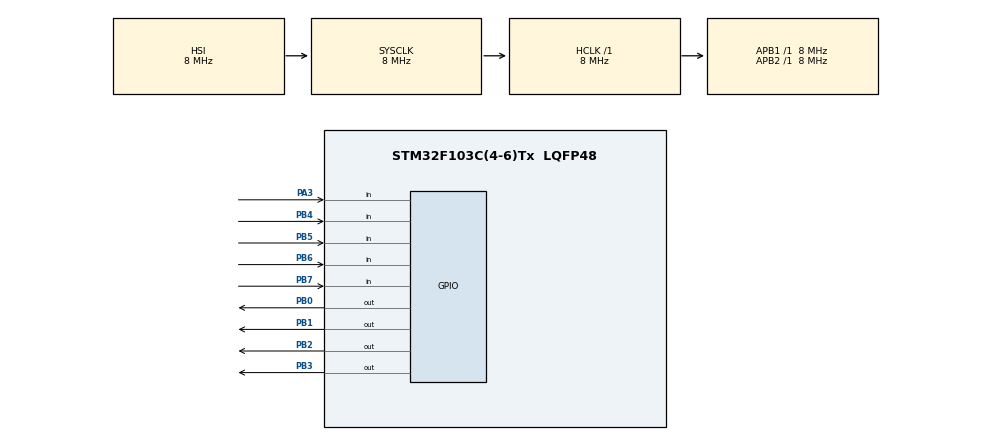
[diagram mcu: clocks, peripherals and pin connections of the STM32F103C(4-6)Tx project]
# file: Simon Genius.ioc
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Mcu.Family=STM32F1
Mcu.Name=STM32F103C(4-6)Tx
Mcu.Package=LQFP48
NVIC.PriorityGroup=NVIC_PRIORITYGROUP_4
NVIC.RTC_IRQn=true\:0\:0\:false\:false\:true\:true\:true
PA3.Signal=GPIO_Input
PB0.Signal=GPIO_Output
PB1.Signal=GPIO_Output
PB2.Signal=GPIO_Output
PB3.Signal=GPIO_Output
PB4.Signal=GPIO_Input
PB5.Signal=GPIO_Input
PB6.Signal=GPIO_Input
PB7.Signal=GPIO_Input
PD0-OSC_IN.Mode=HSE-External-Oscillator
PD0-OSC_IN.Signal=RCC_OSC_IN
PD1-OSC_OUT.Mode=HSE-External-Oscillator
PD1-OSC_OUT.Signal=RCC_OSC_OUT
ProjectManager.HeapSize=0x200
ProjectManager.StackSize=0x400
ProjectManager.TargetToolchain=STM32CubeIDE
RCC.AHBFreq_Value=8000000
RCC.APB1Freq_Value=8000000
RCC.APB1TimFreq_Value=8000000
RCC.APB2Freq_Value=8000000
RCC.APB2TimFreq_Value=8000000
RCC.HCLKFreq_Value=8000000
RCC.PLLSourceVirtual=RCC_PLLSOURCE_HSE
RCC.SYSCLKFreq_VALUE=8000000
RCC.USBFreq_Value=16000000
VP_RTC_VS_RTC_Activate.Mode=RTC_Enabled
VP_SYS_VS_ND.Mode=No_Debug
board=custom

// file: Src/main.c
/* USER CODE BEGIN Header */
/**
  ******************************************************************************
  * @file           : main.c
  * @brief          : Main program body
  ******************************************************************************
  * @attention
  *
  * Copyright (c) 2022 STMicroelectronics.
  * All rights reserved.
  *
  * This software is licensed under terms that can be found in the LICENSE file
  * in the root directory of this software component.
  * If no LICENSE file comes with this software, it is provided AS-IS.
  *
  ******************************************************************************
  */
/* USER CODE END Header */
#include "main.h"

/* USER CODE BEGIN Includes */
#include <stdio.h>
#include <stdlib.h>
#include <time.h>
/* USER CODE END Includes */

RTC_HandleTypeDef hrtc;

void SystemClock_Config(void);
static void MX_GPIO_Init(void);
static void MX_RTC_Init(void);

/* USER CODE BEGIN 0 */
void PerdeuJogo()
{
	HAL_GPIO_TogglePin(GPIOB,GPIO_PIN_0);
	HAL_GPIO_TogglePin(GPIOB,GPIO_PIN_1);
	HAL_GPIO_TogglePin(GPIOB,GPIO_PIN_2);
	HAL_GPIO_TogglePin(GPIOB,GPIO_PIN_3);
	HAL_Delay(1000);
	HAL_GPIO_TogglePin(GPIOB,GPIO_PIN_0);
	HAL_Delay(200);
	HAL_GPIO_TogglePin(GPIOB,GPIO_PIN_1);
	HAL_Delay(200);
	HAL_GPIO_TogglePin(GPIOB,GPIO_PIN_2);
	HAL_Delay(200);
	HAL_GPIO_TogglePin(GPIOB,GPIO_PIN_3);
}

void GanhouJogo()
{
	for(int h = 0; h< 3; h++)
	{
		HAL_GPIO_TogglePin(GPIOB,GPIO_PIN_0);
		HAL_GPIO_TogglePin(GPIOB,GPIO_PIN_1);
		HAL_GPIO_TogglePin(GPIOB,GPIO_PIN_2);
		HAL_GPIO_TogglePin(GPIOB,GPIO_PIN_3);
		HAL_Delay(200);
		HAL_GPIO_TogglePin(GPIOB,GPIO_PIN_0);
		HAL_GPIO_TogglePin(GPIOB,GPIO_PIN_1);
		HAL_GPIO_TogglePin(GPIOB,GPIO_PIN_2);
		HAL_GPIO_TogglePin(GPIOB,GPIO_PIN_3);
		HAL_Delay(200);
	}
}

/* USER CODE END 0 */

int main(void)
{
  /* USER CODE BEGIN 1 */
	int queue[10] = {5};
	int queueReply[10]= {5};
	int queueAux = 0;
	int pinTurnOff = 0;
	int startGame = 0;
	int delay;
	int pressButton;
  /* USER CODE END 1 */

  /* MCU Configuration--------------------------------------------------------*/

  /* Reset of all peripherals, Initializes the Flash interface and the Systick. */
  HAL_Init();

  /* Configure the system clock */
  SystemClock_Config();

  /* Initialize all configured peripherals */
  MX_GPIO_Init();
  MX_RTC_Init();

  /* Infinite loop */
  while (1)
  {

    /* USER CODE BEGIN 3 */

	  //Irá conferir se o botão de start foi iniciado, e iniciará o jogo
	  if(HAL_GPIO_ReadPin(GPIOA, GPIO_PIN_3))
	  {
		  startGame = 1;
	  }

	  //Apenas uma correção, pois quando era iniciado o jogo, os leds iniciavam ligados.
	  //Aqui é setado o tempo inicial de delay, e nosso pressButton, que seu estado indica se está na zona
	  //onde os led ficam acessos, ou na que o botão é precionado.
	  if(pinTurnOff == 0)
	  {
		  delay = 500;
		  pressButton = 1;
		  HAL_GPIO_TogglePin(GPIOB,GPIO_PIN_0);
		  HAL_GPIO_TogglePin(GPIOB,GPIO_PIN_1);
		  HAL_GPIO_TogglePin(GPIOB,GPIO_PIN_2);
		  HAL_GPIO_TogglePin(GPIOB,GPIO_PIN_3);
		  pinTurnOff = 1;
	  }

	  //Zona onde o led irá piscar
	  if(startGame == 1)
	  {
		  //zera nosso cursor da fila
			int i = 0;

			//confere se ganhou o jogo
			if(queueAux == 10)
			{
				GanhouJogo();
				startGame = 0;
				queueAux = 0;
			}

			//Escolhe um led aleatório para acender, usando para isso um tick do clock, e adiciona na fila
			srand(HAL_GetTick());
			queue[queueAux] = rand() % 4;

		//Laço responsavel por piscar os leds
		  while(pressButton == 1)
		  {
			  HAL_Delay(1000);

			  switch(queue[i])
			  {
			  	  case 0:
			  		HAL_GPIO_TogglePin(GPIOB,GPIO_PIN_0);
			  		HAL_Delay(delay);
					HAL_GPIO_TogglePin(GPIOB,GPIO_PIN_0);
					break;
			  	  case 1:
			  		HAL_GPIO_TogglePin(GPIOB,GPIO_PIN_1);
			  		HAL_Delay(delay);
					HAL_GPIO_TogglePin(GPIOB,GPIO_PIN_1);
					break;
			  	  case 2:
			  		HAL_GPIO_TogglePin(GPIOB,GPIO_PIN_2);
			  		HAL_Delay(delay);
					HAL_GPIO_TogglePin(GPIOB,GPIO_PIN_2);
					break;
			  	  case 3:
			  		HAL_GPIO_TogglePin(GPIOB,GPIO_PIN_3);
			  		HAL_Delay(delay);
					HAL_GPIO_TogglePin(GPIOB,GPIO_PIN_3);
					break;
			  	  default:
					HAL_GPIO_TogglePin(GPIOB,GPIO_PIN_0);
			  		HAL_GPIO_TogglePin(GPIOB,GPIO_PIN_1);
					HAL_GPIO_TogglePin(GPIOB,GPIO_PIN_2);
					HAL_GPIO_TogglePin(GPIOB,GPIO_PIN_3);
					HAL_Delay(delay);
					HAL_GPIO_TogglePin(GPIOB,GPIO_PIN_0);
					HAL_GPIO_TogglePin(GPIOB,GPIO_PIN_1);
					HAL_GPIO_TogglePin(GPIOB,GPIO_PIN_2);
					HAL_GPIO_TogglePin(GPIOB,GPIO_PIN_3);
					break;
			  }
			  // se o nosso cursor chegar no valor atual da fila, ele aumenta nosso auxiliar e sai do laço
			  if(i == queueAux)
			  {
				pressButton = 0;
				queueAux++;
			  }
			  i++;

		  }

		  //Aqui nosso cursor é zerado
		  i = 0;

		  //Laço responsável por esperar a resposta dos botões
		  while(pressButton == 0)
		  {
			  if(HAL_GPIO_ReadPin(GPIOB, GPIO_PIN_4))
			  {
				  HAL_GPIO_TogglePin(GPIOB,GPIO_PIN_0);
				  HAL_Delay(delay);
				  HAL_GPIO_TogglePin(GPIOB,GPIO_PIN_0);
				  //Aqui armazena a resposta
				  queueReply[i] = 0;
				  //Aqui confere se a resposta nessa posição é igual
				  if(queue[i] == queueReply[i]){
					  // confere se ja chegou ao final
					  // queueAux-1 pois nos aumentamos o tamanho dele no outro laço
					  if(i == (queueAux-1)){
						  pressButton = 1;
						  delay -= 35;
					  }
					  i++;
				  }
				  // aqui a gente perdeu o jogo, caso seja diferente que a queue
				  else{
					  pressButton = 1;
					  PerdeuJogo();
					  startGame = 0;
					  queueAux = 0;
				  }
			  }
			  if(HAL_GPIO_ReadPin(GPIOB, GPIO_PIN_5))
			  {
				  HAL_GPIO_TogglePin(GPIOB,GPIO_PIN_1);
				  HAL_Delay(delay);
				  HAL_GPIO_TogglePin(GPIOB,GPIO_PIN_1);
				  queueReply[i] = 1;
				  if(queue[i] == queueReply[i]){
					  if(i == (queueAux-1)){
						  pressButton = 1;
						  delay -= 35;
					  }
					  i++;
				  }
				  else{
					  pressButton = 1;
					  PerdeuJogo();
					  startGame = 0;
					  queueAux = 0;
				  }
			  }
			  if(HAL_GPIO_ReadPin(GPIOB, GPIO_PIN_6))
			  {
				  HAL_GPIO_TogglePin(GPIOB,GPIO_PIN_2);
				  HAL_Delay(delay);
				  HAL_GPIO_TogglePin(GPIOB,GPIO_PIN_2);
				  queueReply[i] = 2;
				  if(queue[i] == queueReply[i]){
					  if(i == (queueAux-1)){
						  pressButton = 1;
						  delay -= 35;
					  }
					  i++;
				  }
				  else{
					  pressButton = 1;
					  PerdeuJogo();
					  startGame = 0;
					  queueAux = 0;
				  }
			  }
			  if(HAL_GPIO_ReadPin(GPIOB, GPIO_PIN_7))
			  {
				  HAL_GPIO_TogglePin(GPIOB,GPIO_PIN_3);
				  HAL_Delay(delay);
				  HAL_GPIO_TogglePin(GPIOB,GPIO_PIN_3);
				  queueReply[i] = 3;
				  if(queue[i] == queueReply[i]){
					  if(i == (queueAux-1)){
						  pressButton = 1;
						  delay -= 35;
					  }
					  i++;
				  }
				  else{
					  pressButton = 1;
					  PerdeuJogo();
					  startGame = 0;
					  queueAux = 0;
				  }
			  }

		  }
	  }

  }

  /* USER CODE END 3 */
}

void SystemClock_Config(void)
{
  RCC_OscInitTypeDef RCC_OscInitStruct = {0};
  RCC_ClkInitTypeDef RCC_ClkInitStruct = {0};
  RCC_PeriphCLKInitTypeDef PeriphClkInit = {0};

  /** Initializes the RCC Oscillators according to the specified parameters
  * in the RCC_OscInitTypeDef structure.
  */
  RCC_OscInitStruct.OscillatorType = RCC_OSCILLATORTYPE_HSI|RCC_OSCILLATORTYPE_LSI;
  RCC_OscInitStruct.HSIState = RCC_HSI_ON;
  RCC_OscInitStruct.HSICalibrationValue = RCC_HSICALIBRATION_DEFAULT;
  RCC_OscInitStruct.LSIState = RCC_LSI_ON;
  RCC_OscInitStruct.PLL.PLLState = RCC_PLL_NONE;
  if (HAL_RCC_OscConfig(&RCC_OscInitStruct) != HAL_OK)
  {
    Error_Handler();
  }
  /** Initializes the CPU, AHB and APB buses clocks
  */
  RCC_ClkInitStruct.ClockType = RCC_CLOCKTYPE_HCLK|RCC_CLOCKTYPE_SYSCLK
                              |RCC_CLOCKTYPE_PCLK1|RCC_CLOCKTYPE_PCLK2;
  RCC_ClkInitStruct.SYSCLKSource = RCC_SYSCLKSOURCE_HSI;
  RCC_ClkInitStruct.AHBCLKDivider = RCC_SYSCLK_DIV1;
  RCC_ClkInitStruct.APB1CLKDivider = RCC_HCLK_DIV1;
  RCC_ClkInitStruct.APB2CLKDivider = RCC_HCLK_DIV1;

  if (HAL_RCC_ClockConfig(&RCC_ClkInitStruct, FLASH_LATENCY_0) != HAL_OK)
  {
    Error_Handler();
  }
  PeriphClkInit.PeriphClockSelection = RCC_PERIPHCLK_RTC;
  PeriphClkInit.RTCClockSelection = RCC_RTCCLKSOURCE_LSI;
  if (HAL_RCCEx_PeriphCLKConfig(&PeriphClkInit) != HAL_OK)
  {
    Error_Handler();
  }
}

static void MX_RTC_Init(void)
{

  /** Initialize RTC Only
  */
  hrtc.Instance = RTC;
  hrtc.Init.AsynchPrediv = RTC_AUTO_1_SECOND;
  hrtc.Init.OutPut = RTC_OUTPUTSOURCE_ALARM;
  if (HAL_RTC_Init(&hrtc) != HAL_OK)
  {
    Error_Handler();
  }

}

static void MX_GPIO_Init(void)
{
  GPIO_InitTypeDef GPIO_InitStruct = {0};

  /* GPIO Ports Clock Enable */
  __HAL_RCC_GPIOD_CLK_ENABLE();
  __HAL_RCC_GPIOA_CLK_ENABLE();
  __HAL_RCC_GPIOB_CLK_ENABLE();

  /*Configure GPIO pin Output Level */
  HAL_GPIO_WritePin(GPIOB, GPIO_PIN_0|GPIO_PIN_1|GPIO_PIN_2|GPIO_PIN_3, GPIO_PIN_RESET);

  /*Configure GPIO pin : PA3 */
  GPIO_InitStruct.Pin = GPIO_PIN_3;
  GPIO_InitStruct.Mode = GPIO_MODE_INPUT;
  GPIO_InitStruct.Pull = GPIO_NOPULL;
  HAL_GPIO_Init(GPIOA, &GPIO_InitStruct);

  /*Configure GPIO pins : PB0 PB1 PB2 PB3 */
  GPIO_InitStruct.Pin = GPIO_PIN_0|GPIO_PIN_1|GPIO_PIN_2|GPIO_PIN_3;
  GPIO_InitStruct.Mode = GPIO_MODE_OUTPUT_PP;
  GPIO_InitStruct.Pull = GPIO_NOPULL;
  GPIO_InitStruct.Speed = GPIO_SPEED_FREQ_LOW;
  HAL_GPIO_Init(GPIOB, &GPIO_InitStruct);

  /*Configure GPIO pins : PB4 PB5 PB6 PB7 */
  GPIO_InitStruct.Pin = GPIO_PIN_4|GPIO_PIN_5|GPIO_PIN_6|GPIO_PIN_7;
  GPIO_InitStruct.Mode = GPIO_MODE_INPUT;
  GPIO_InitStruct.Pull = GPIO_NOPULL;
  HAL_GPIO_Init(GPIOB, &GPIO_InitStruct);

}

void Error_Handler(void)
{
  __disable_irq();
  while (1)
  {
  }
}
